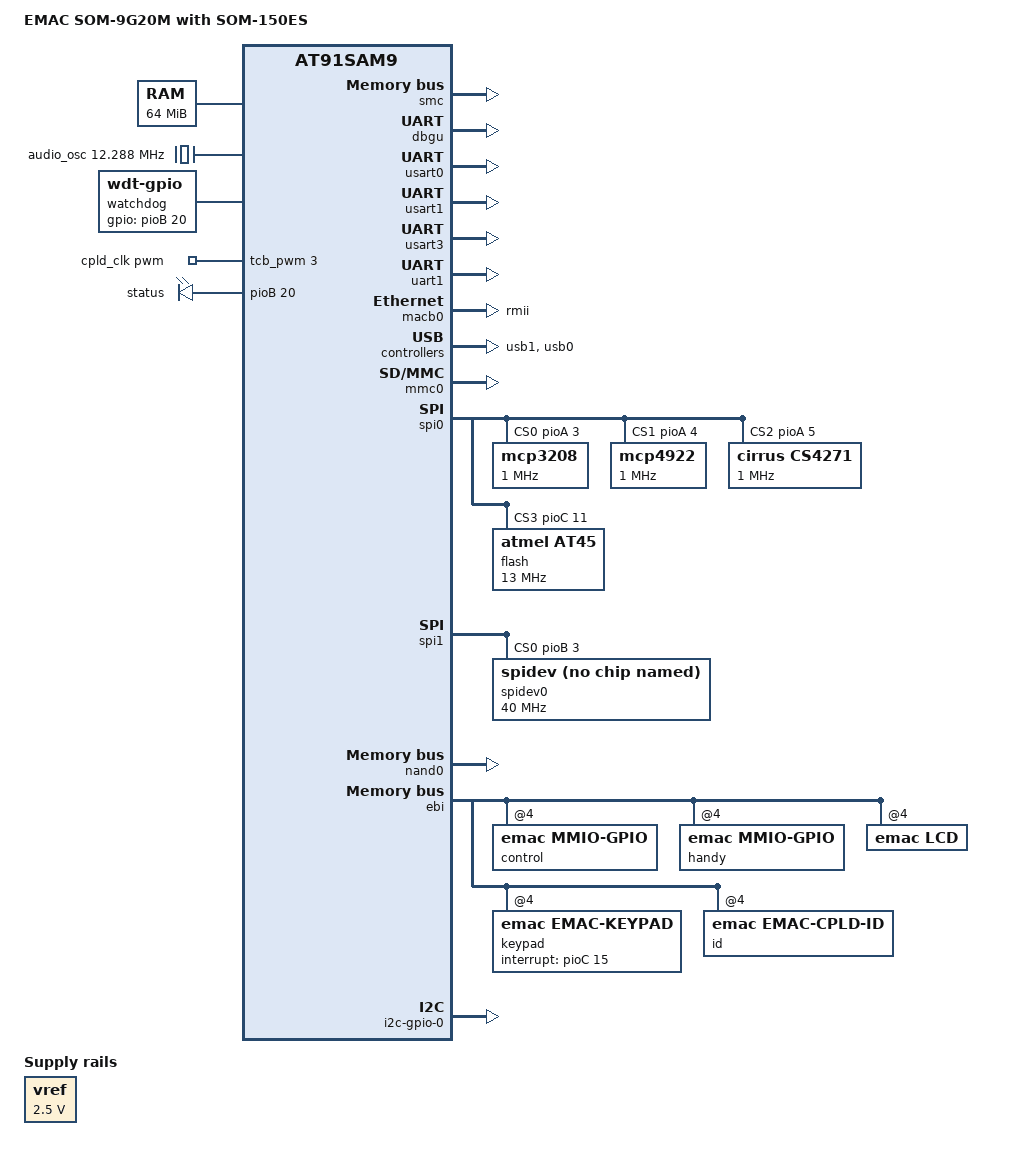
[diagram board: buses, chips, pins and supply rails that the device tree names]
/*
 * som-9g20-150es.dts - Device Tree file for SOM-9G20M w/ SOM-150ES carrier.
 *
 * Copyright (C) 2014 EMAC Inc.
 *
 * Licensed under GPLv2.
 */
/dts-v1/;
#include "at91sam9g20.dtsi"

/ {
	model = "EMAC SOM-9G20M with SOM-150ES";
	compatible = "emac,som9g20", "atmel,at91sam9g20", "atmel,at91sam9";

	aliases {
		serial0 = &dbgu;
		serial1 = &usart0;
		serial4 = &usart1;
		serial3 = &usart3;
		serial6 = &uart0;
		spi0 = &spi0;
		spi1 = &spi1;
	};

	memory {
		reg = <0x20000000 0x4000000>;
	};

	clocks {
		slow_xtal {
			clock-frequency = <32768>;
		};

		main_xtal {
			clock-frequency = <18432000>;
		};

		audio_osc: audio_osc {
			compatible = "fixed-clock";
			#clock-cells = <0>;
			clock-frequency = <12288000>;
		};
	};

	regulators {
		compatible = "simple-bus";
		#address-cells = <1>;
		#size-cells = <0>;

		vref: regulator@0 {
			compatible = "regulator-fixed";
			reg = <0>;
			regulator-name = "vref";
			regulator-min-microvolt = <2500000>;
			regulator-max-microvolt = <2500000>;
			regulator-always-on;
		};
	};

	sound {
		compatible = "simple-audio-card";
		simple-audio-card,name = "cs4271 @ SOM9G20";
		simple-audio-card,format = "i2s";
		simple-audio-card,bitclock-master = <&codec_master>;
		simple-audio-card,frame-master = <&codec_master>;
		simple-audio-card,widgets =
			"Line", "Line In",
			"Line", "Line Out";
		simple-audio-card,routing =
			"Line In", "Capture",
			"Line Out", "Playback";

		cpu_master: simple-audio-card,cpu {
			sound-dai = <&ssc0>;
		};

		codec_master: simple-audio-card,codec {
			sound-dai = <&cs4271>;
		};
	};

	ahb {
		apb {
			pinctrl@fffff400 {
				mmc0_slot0 {
					pinctrl_board_mmc0_slot0: mmc0_slot0-board {
						atmel,pins =
							<AT91_PIOA 29 AT91_PERIPH_GPIO (AT91_PINCTRL_PULL_UP|AT91_PINCTRL_DEGLITCH)>;	/* PA29 gpio CD pin pull up and deglitch */
					};
				};

				smc04 {
					pinctrl_smc: smc04-board {
						atmel,pins =
							<AT91_PIOC 8 AT91_PERIPH_A AT91_PINCTRL_PULL_UP>;
					};
				};

				spi0 {
					pinctrl_spi0_cs: spi0-board {
						atmel,pins =
							<AT91_PIOA 3 AT91_PERIPH_GPIO AT91_PINCTRL_PULL_UP
							 AT91_PIOA 4 AT91_PERIPH_GPIO AT91_PINCTRL_PULL_UP
							 AT91_PIOA 5 AT91_PERIPH_GPIO AT91_PINCTRL_PULL_UP
							 AT91_PIOC 11 AT91_PERIPH_GPIO AT91_PINCTRL_PULL_UP>;
					};
				};

				spi1 {
					pinctrl_spi1_cs: spi1-board {
						atmel,pins =
							<AT91_PIOB 3 AT91_PERIPH_GPIO AT91_PINCTRL_PULL_UP
							 AT91_PIOB 30 AT91_PERIPH_GPIO AT91_PINCTRL_PULL_UP>;
					};
				};

				som {
					pinctrl_som: som-board {
						atmel,pins =
							<AT91_PIOB 0 AT91_PERIPH_GPIO AT91_PINCTRL_NONE
							 AT91_PIOB 1 AT91_PERIPH_GPIO AT91_PINCTRL_NONE
							 AT91_PIOB 2 AT91_PERIPH_GPIO AT91_PINCTRL_NONE
							 AT91_PIOB 3 AT91_PERIPH_GPIO AT91_PINCTRL_NONE
							 AT91_PIOC 12 AT91_PERIPH_GPIO AT91_PINCTRL_NONE
							 AT91_PIOA 28 AT91_PERIPH_GPIO AT91_PINCTRL_NONE
							 AT91_PIOA 22 AT91_PERIPH_GPIO AT91_PINCTRL_NONE
							 AT91_PIOA 31 AT91_PERIPH_GPIO AT91_PINCTRL_NONE>;
					};
				};

				keypad_gpio {
					pinctrl_keypad: keypad-board {
						atmel,pins =
							<AT91_PIOC 15 AT91_PERIPH_GPIO AT91_PINCTRL_DEBOUNCE
							 AT91_PIOA 26 AT91_PERIPH_A AT91_PINCTRL_NONE
							 AT91_PIOC 6 AT91_PERIPH_A AT91_PINCTRL_NONE
                                                         AT91_PIOC 7 AT91_PERIPH_A AT91_PINCTRL_NONE>;
					};
				};
			};

			adc0: adc@fffe0000 {
				atmel,adc-vref = <2500>;
			};

			matrix: matrix@ffffee00 {
				compatible = "atmel,at91sam9260-matrix", "syscon";
				reg = <0xffffee00 0x100>;
			};

			smc: smc@ffffec00 {
				compatible = "atmel,at91sam9260-smc", "syscon";
				reg = <0xffffec00 0x200>;
			};

			dbgu: serial@fffff200 {
				status = "okay";
			};

			usart0: serial@fffb0000 {
				pinctrl-0 =
					<&pinctrl_usart0
					 &pinctrl_usart0_rts
					 &pinctrl_usart0_cts
					 &pinctrl_usart0_dtr_dsr
					 &pinctrl_usart0_dcd
					 &pinctrl_usart0_ri>;
				status = "okay";
			};

			usart1: serial@fffb4000 {
				pinctrl-0 =
					<&pinctrl_usart1
					 &pinctrl_usart1_rts
					 &pinctrl_usart1_cts>;
				status = "okay";
			};

			usart3: serial@fffd0000 {
				status = "okay";
			};

			uart1: serial@fffd8000 {
				status = "okay";
			};

			macb0: ethernet@fffc4000 {
				phy-mode = "rmii";
				status = "okay";
			};

			usb1: gadget@fffa4000 {
				atmel,vbus-gpio = <&pioB 31 GPIO_ACTIVE_HIGH>;
				status = "okay";
			};
			
			ssc0: ssc@fffbc000 {
				#sound-dai-cells = <0>;
				status = "okay";
			};

			mmc0: mmc@fffa8000 {
				pinctrl-0 = <
					&pinctrl_board_mmc0_slot0
					&pinctrl_mmc0_clk
					&pinctrl_mmc0_slot0_cmd_dat0
					&pinctrl_mmc0_slot0_dat1_3>;
				status = "okay";
				slot@0 {
					reg = <0>;
					bus-width = <4>;
					cd-gpios = <&pioA 29 GPIO_ACTIVE_LOW>;
				};
			};

			spi0: spi@fffc8000 {
				cs-gpios = <&pioA 3 0
					    &pioA 4 0
					    &pioA 5 0
					    &pioC 11 0>;
				pinctrl-name = "default";
				pinctrl-0 = <&pinctrl_spi0 &pinctrl_spi0_cs>;
				status = "okay";

				mcp3208: mcp320x@0 {
					compatible = "mcp3208";
					spi-max-frequency = <1000000>;
					spi-cpol;
					spi-cpha;
					reg = <0>;
					status = "okay";
				};

				mcp4922: mcp49x2@1 {
					compatible = "mcp4922";
					spi-max-frequency = <1000000>;
					spi-cpol;
					spi-cpha;
					reg = <1>;
					vref = <&vref>;
					status = "okay";
				};

				cs4271: cs4271@2 {
					#sound-dai-cells = <0>;
					compatible = "cirrus,cs4271";
					spi-cpol;
					spi-cpha;
					reg = <2>;
					clocks = <&audio_osc>;
					spi-max-frequency = <1000000>;
					status = "okay";
				};

				flash: mtd_dataflash@3 {
					compatible = "atmel,at45", "atmel,dataflash";
					spi-max-frequency = <13000000>;
					reg = <3>;
				};
			};

			spi1: spi@fffcc000 {
				cs-gpios = <&pioB 3 0>;
				pinctrl-name = "default";
				pinctrl-0 = <&pinctrl_spi1 &pinctrl_spi1_cs>;
				status = "okay";

				spidev0: spidev@0 {
					compatible = "emac,spidev";
					reg = <0>;
					spi-max-frequency = <40000000>;
				};
			};

			shdwc@fffffd10 {
				atmel,wakeup-counter = <10>;
				atmel,wakeup-rtt-timer;
			};

			rtc@fffffd20 {
				atmel,rtt-rtc-time-reg = <&gpbr 0x0>;
				status = "okay";
			};

			watchdog: watchdog {
				/* MAX6747 */
				compatible = "linux,wdt-gpio";
				gpios = <&pioB 20 GPIO_ACTIVE_HIGH>;
				hw_algo = "toggle";
				hw_margin_ms = <1000>;
			};

			gpbr: syscon@fffffd50 {
				status = "okay";
			};
		};

		nand0: nand@40000000 {
			nand-bus-width = <8>;
			nand-ecc-mode = "soft";
			nand-on-flash-bbt;
			status = "okay";
		};

		usb0: ohci@500000 {
			num-ports = <2>;
			status = "okay";
		};

		ebi: ebi@50000000 {
			compatible = "atmel,at91sam9260-ebi";
			#address-cells = <2>; 
			#size-cells = <1>;
			atmel,smc = <&smc>;
			atmel,matrix = <&matrix>;
			reg = <0x10000000 0x60000000>;
			ranges = <0x0 0x0 0x10000000 0x10000000
				  0x1 0x0 0x20000000 0x10000000
				  0x2 0x0 0x30000000 0x10000000
				  0x3 0x0 0x40000000 0x10000000
				  0x4 0x0 0x50000000 0x10000000
				  0x5 0x0 0x60000000 0x10000000>;
			clocks = <&mck>;

			pinctrl-names = "default";
			pinctrl-0 = <&pinctrl_smc>;

			portc@4,6 {
				compatible = "emac,mmio-gpio";
				reg-names = "dat";
				reg = <4 6 1>;
				gpio-controller;
				no-input;
				#address-cells = <1>;
				#size-cells = <1>;
				#gpio-cells = <1>;
				bank-width = <1>;
			};

			portb@4,4 {
				compatible = "emac,mmio-gpio";
				reg-names = "dat", "dirout";
				reg = <4 4 1>, <4 5 1>;
				gpio-controller;
				#address-cells = <1>;
				#size-cells = <1>;
				#gpio-cells = <2>;
				bank-width = <1>;
			};

			porta@4,2 {
				compatible = "emac,mmio-gpio";
				reg-names = "dat", "dirout";
				reg = <4 2 1>, <4 3 1>;
				gpio-controller;
				#gpio-cells = <2>;
				#address-cells = <1>;
				#size-cells = <1>;
				bank-width = <1>;

				atmel,smc-read-mode = "nrd";
				atmel,smc-write-mode = "nwe";
				atmel,smc-bus-width = <8>;
				atmel,smc-ncs-rd-setup-ns = <8>;
				atmel,smc-ncs-wr-setup-ns = <8>;
				atmel,smc-nwe-setup-ns = <16>;
				atmel,smc-nrd-setup-ns = <16>;
				atmel,smc-ncs-rd-pulse-ns = <40>;
				atmel,smc-ncs-wr-pulse-ns = <40>;
				atmel,smc-nrd-pulse-ns = <24>;
				atmel,smc-nwe-pulse-ns = <24>;
				atmel,smc-nrd-cycle-ns = <64>;
				atmel,smc-nwe-cycle-ns = <64>;
				atmel,smc-tdf-ns = <16>;
			};

			control@4,8 {
				compatible = "emac,mmio-gpio";
				reg-names = "dat";
				reg = <4 8 1>;
				gpio-controller;
				no-input;
				#address-cells = <1>;
				#size-cells = <1>;
				#gpio-cells = <1>;
				bank-width = <1>;
			};

			handy@4,10 {
				compatible = "emac,mmio-gpio";
				reg-names = "dat", "dirout";
				reg = <4 10 1>, <4 11 1>;
				gpio-controller;
				#address-cells = <1>;
				#size-cells = <1>;
				#gpio-cells = <2>;
				bank-width = <1>;
			};

			lcd@4,0 {
				compatible = "emac,lcd";
				reg = <4 0 2>;
				#address-cells = <1>;
				#size-cells = <1>;
				bank-width = <1>;

				atmel,smc-read-mode = "nrd";
				atmel,smc-write-mode = "nwe";
				atmel,smc-bus-width = <8>;
				atmel,smc-ncs-rd-setup-ns = <8>;
				atmel,smc-ncs-wr-setup-ns = <16>;
				atmel,smc-nwe-setup-ns = <27>;
				atmel,smc-nrd-setup-ns = <6>;
				atmel,smc-ncs-rd-pulse-ns = <6>;
				atmel,smc-ncs-wr-pulse-ns = <81>;
				atmel,smc-nrd-pulse-ns = <6>;
				atmel,smc-nwe-pulse-ns = <94>;
				atmel,smc-nrd-cycle-ns = <14>;
				atmel,smc-nwe-cycle-ns = <128>;
				atmel,smc-tdf-ns = <15>;
			};

			keypad@4,7 {
				compatible = "emac,emac-keypad";
				reg = <4 7 1>;
				#address-cells = <1>;
				#size-cells = <1>;
				bank-width = <1>;

				clocks = <&cpld_clk>;
				clock-names = "cpldclk";

				pinctrl-names = "default";
				pinctrl-0 = <&pinctrl_keypad>;

				gpio-interrupt = <&pioC 15 0x0>;
				keypad,num-rows = <4>;
				keypad,num-columns = <4>;
				linux,keymap = <0x0000001e /*A*/
						0x01000008 /*7*/
						0x02000005 /*4*/
						0x03000002 /*1*/
						0x0001000b /*0*/
						0x01010009 /*8*/
						0x02010006 /*5*/
						0x03010003 /*2*/
						0x00020030 /*B*/
						0x0102000a /*9*/
						0x02020007 /*6*/
						0x03020004 /*3*/
						0x00030021 /*F*/
						0x01030012 /*E*/
						0x02030020 /*D*/
						0x0303002e /*C*/
						>;
			};

			id@4,0xf {
				compatible = "emac,emac-cpld-id";
				reg = <4 0xf 1>;
				#address-cells = <1>;
				#size-cells = <1>;

				atmel,smc-read-mode = "nrd";
				atmel,smc-write-mode = "nwe";
				atmel,smc-bus-width = <8>;
				atmel,smc-ncs-rd-setup-ns = <8>;
				atmel,smc-ncs-wr-setup-ns = <8>;
				atmel,smc-nwe-setup-ns = <16>;
				atmel,smc-nrd-setup-ns = <16>;
				atmel,smc-ncs-rd-pulse-ns = <40>;
				atmel,smc-ncs-wr-pulse-ns = <40>;
				atmel,smc-nrd-pulse-ns = <24>;
				atmel,smc-nwe-pulse-ns = <24>;
				atmel,smc-nrd-cycle-ns = <64>;
				atmel,smc-nwe-cycle-ns = <64>;
				atmel,smc-tdf-ns = <16>;
			};
		};
	};

	i2c-gpio-0 {
		status = "okay";
	};

	tcb_pwm: tcb_pwm {
		compatible = "atmel,tcb-pwm";
		#pwm-cells = <3>;
		tc-block = <0>;
	};

	cpld_clk: cpld_clk {
		compatible = "pwm-clock";
		#clock-cells = <0>;
		pwms = <&tcb_pwm 3 5000 0>;
	};

	gpio-leds {
		compatible = "gpio-leds";
		led-stat {
			label = "status";
			gpios = <&pioB 20 GPIO_ACTIVE_HIGH>;
			default-state = "on";
		};
	};
};
